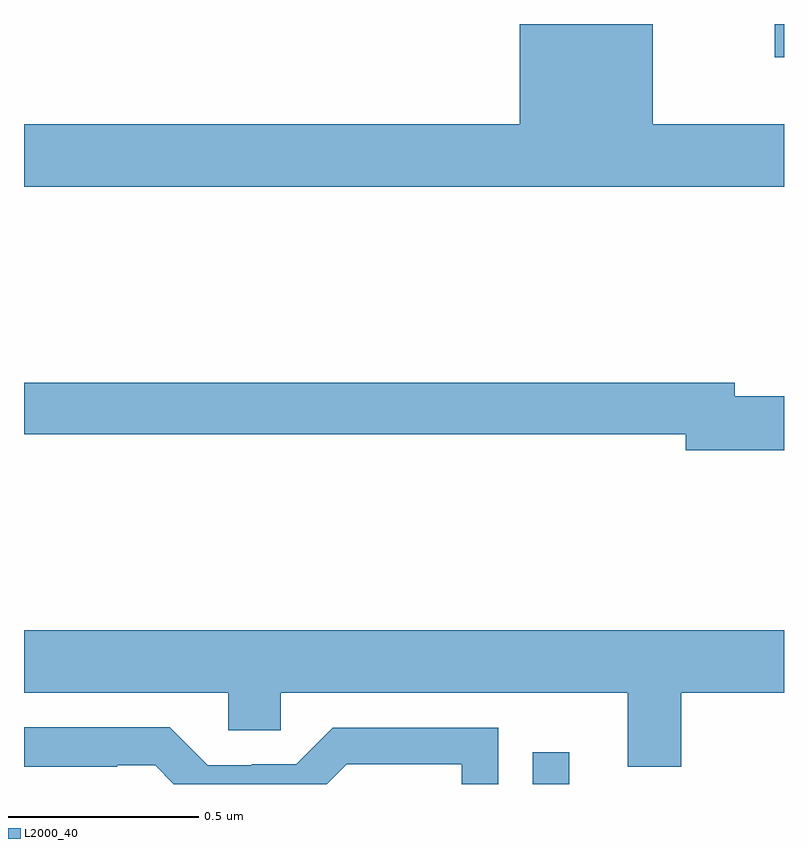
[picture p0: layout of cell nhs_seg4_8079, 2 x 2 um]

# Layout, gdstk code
import gdstk
lib = gdstk.Library(unit=1e-6, precision=1e-09)
def R(c, l, rs):  # rectangles x0, y0, x1, y1
    for r in rs: c.add(gdstk.rectangle(r[:2], r[2:], *l))
def P(c, l, *ps):  # polygons
    for p in ps: c.add(gdstk.Polygon(p, *l))
L2000_40 = (2000, 40)

nhs_seg4_8079 = lib.new_cell('nhs_seg4_8079')
R(nhs_seg4_8079, L2000_40, [(211.339,809.9,211.435,809.983), (211.975,811.812,212,811.9)])
P(nhs_seg4_8079, L2000_40, [(212,811.636),(211.654,811.636),(211.654,811.9),(211.304,811.9),(211.304,811.636),(210,811.636),(210,811.472),(212,811.472)],
  [(212,810.92),(211.87,810.92),(211.87,810.956),(210,810.956),(210,810.82),(211.742,810.82),(211.742,810.778),(212,810.778)],
  [(211.729,810.14),(212,810.14),(212,810.304),(210,810.304),(210,810.14),(210.537,810.14),(210.537,810.042),(210.675,810.042),(210.675,810.14),(211.589,810.14),(211.589,809.946),(211.729,809.946)],
  [(210.849,809.952),(211.152,809.952),(211.152,809.9),(211.248,809.9),(211.248,810.048),(210.813,810.048),(210.717,809.952),(210.599,809.952),(210.599,809.949),(210.483,809.949),(210.383,810.049),(210,810.049),(210,809.945),(210.245,809.945),(210.245,809.949),(210.345,809.949),(210.394,809.9),(210.797,809.9)])

lib.write_gds('nhs_seg4_8079.gds')
